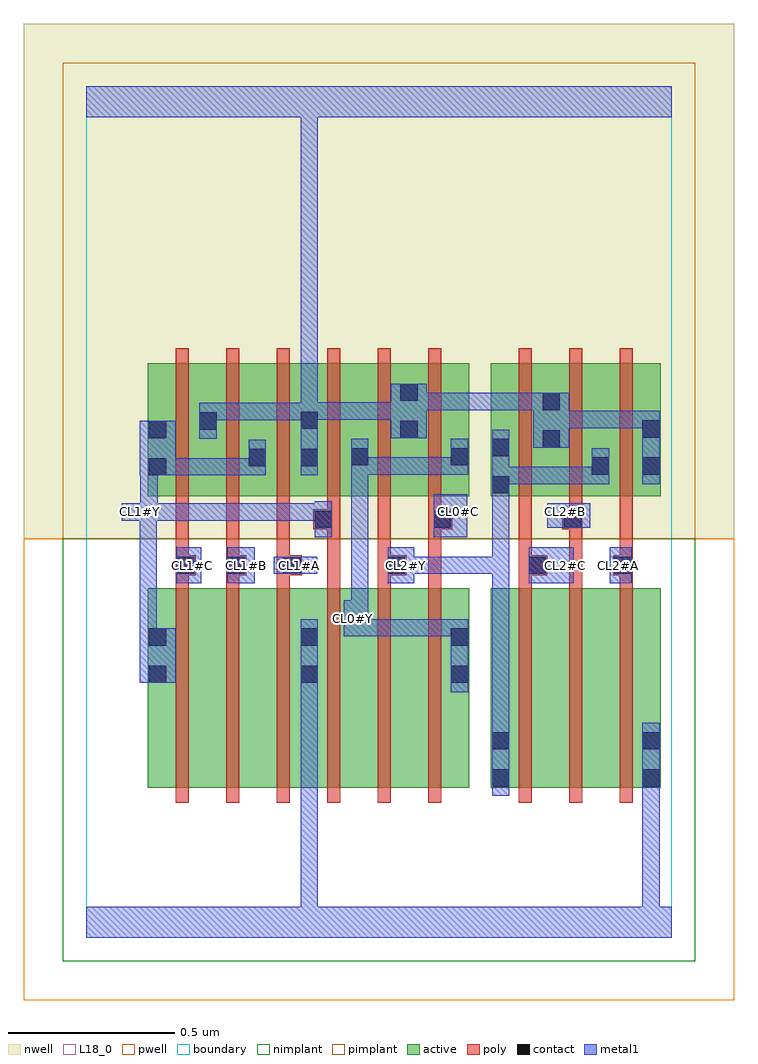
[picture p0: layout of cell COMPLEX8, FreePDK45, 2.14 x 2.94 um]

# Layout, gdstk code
import gdstk
lib = gdstk.Library(unit=1e-6, precision=1e-09)
def R(c, l, rs):  # rectangles x0, y0, x1, y1
    for r in rs: c.add(gdstk.rectangle(r[:2], r[2:], *l))
def A(c, l, x, y, w, h, nx, ny, dx, dy):  # array of equal rectangles
    R(c, l, [(x+i*dx, y+j*dy, x+i*dx+w, y+j*dy+h) for i in range(nx) for j in range(ny)])
active = (1, 0)
pwell = (2, 0)
nwell = (3, 0)
nimplant = (4, 0)
pimplant = (5, 0)
poly = (9, 0)
contact = (10, 0)
metal1 = (11, 0)
L18_0 = (18, 0)
boundary = (235, 0)

complex8 = lib.new_cell('COMPLEX8')
R(complex8, active, [(0.184,0.45,0.364,1.05), (0.364,0.45,0.516,1.05), (0.516,0.45,0.7,1.05), (0.64,0.45,0.82,1.05), (0.82,0.45,0.972,1.05), (0.972,0.45,1.152,1.05), (1.216,0.45,1.276,1.05), (1.216,0.45,1.396,1.05), (1.396,0.45,1.548,1.05), (1.548,0.45,1.728,1.05), (1.668,0.45,1.728,1.05), (0.184,0.556,0.244,1.05), (0.64,0.556,0.7,0.934), (1.092,0.556,1.152,1.05), (0.184,1.328,0.244,1.644), (0.184,1.328,0.396,1.728), (0.336,1.328,0.544,1.728), (0.336,1.328,0.396,1.728), (0.484,1.328,0.544,1.644), (0.484,1.328,0.7,1.728), (0.64,1.328,0.7,1.644), (0.64,1.328,0.852,1.728), (0.792,1.328,0.852,1.644), (0.792,1.328,1,1.728), (0.94,1.328,1.152,1.728), (0.94,1.328,1,1.67), (1.092,1.328,1.152,1.644), (1.216,1.328,1.276,1.644), (1.216,1.328,1.428,1.728), (1.368,1.328,1.576,1.728), (1.368,1.328,1.428,1.728), (1.516,1.328,1.576,1.644), (1.516,1.328,1.728,1.728), (1.668,1.328,1.728,1.644)])
R(complex8, pwell, [(-0.188,-0.188,1.948,1.2)])
R(complex8, nwell, [(-0.188,1.2,1.948,2.748)])
R(complex8, nimplant, [(-0.072,-0.072,1.832,1.2)])
R(complex8, pimplant, [(-0.072,1.2,1.832,2.632)])
A(complex8, poly, 0.268, 0.406, 0.04, 0.688, 6, 1, 0.152, 0)
A(complex8, poly, 1.3, 0.406, 0.04, 0.688, 3, 1, 0.152, 0)
A(complex8, poly, 0.268, 1.054, 0.04, 0.076, 3, 1, 0.152, 0)
A(complex8, poly, 0.268, 1.11, 0.04, 0.214, 3, 1, 0.152, 0)
A(complex8, poly, 0.268, 1.284, 0.04, 0.488, 6, 1, 0.152, 0)
A(complex8, poly, 1.3, 1.284, 0.04, 0.488, 3, 1, 0.152, 0)
R(complex8, poly, [(0.724,1.054,0.764,1.268), (0.876,1.054,0.916,1.13), (1.028,1.054,1.068,1.268), (1.3,1.054,1.34,1.13), (1.452,1.054,1.492,1.268), (1.604,1.054,1.644,1.13), (0.268,1.09,0.328,1.15), (0.42,1.09,0.48,1.15), (0.572,1.09,0.648,1.15), (0.876,1.09,0.962,1.15), (1.3,1.09,1.386,1.15), (1.584,1.09,1.644,1.15), (1.604,1.09,1.644,1.13), (1.604,1.09,1.644,1.13), (0.268,1.11,0.308,1.15), (0.268,1.11,0.308,1.15), (0.42,1.11,0.46,1.15), (0.42,1.11,0.46,1.15), (0.572,1.11,0.612,1.15), (0.572,1.11,0.612,1.15), (0.876,1.11,0.916,1.324), (0.876,1.11,0.916,1.15), (0.876,1.11,0.916,1.15), (1.3,1.11,1.34,1.324), (1.3,1.11,1.34,1.15), (1.3,1.11,1.34,1.15), (1.604,1.11,1.644,1.324), (0.682,1.228,0.764,1.288), (0.724,1.228,0.764,1.268), (0.724,1.228,0.764,1.268), (1.028,1.228,1.068,1.268), (1.028,1.228,1.068,1.268), (1.028,1.228,1.1,1.288), (1.432,1.228,1.492,1.288), (1.452,1.228,1.492,1.268), (1.452,1.228,1.492,1.268), (0.724,1.248,0.764,1.324), (1.028,1.248,1.068,1.324), (1.452,1.248,1.492,1.324)])
R(complex8, contact, [(1.22,0.454,1.272,0.506), (1.672,0.454,1.724,0.506), (1.22,0.566,1.272,0.618), (1.672,0.566,1.724,0.618), (0.188,0.766,0.24,0.818), (0.644,0.766,0.696,0.818), (1.096,0.766,1.148,0.818), (0.188,0.878,0.24,0.93), (0.644,0.878,0.696,0.93), (1.096,0.878,1.148,0.93), (0.272,1.094,0.324,1.146), (0.424,1.094,0.476,1.146), (0.592,1.094,0.644,1.146), (0.906,1.094,0.958,1.146), (1.33,1.094,1.382,1.146), (1.588,1.094,1.64,1.146), (0.686,1.232,0.738,1.284), (1.044,1.232,1.096,1.284), (1.436,1.232,1.488,1.284), (1.22,1.336,1.272,1.388), (0.188,1.39,0.24,1.442), (1.52,1.392,1.572,1.444), (1.672,1.392,1.724,1.444), (0.488,1.418,0.54,1.47), (0.644,1.418,0.696,1.47), (0.796,1.42,0.848,1.472), (1.096,1.42,1.148,1.472), (1.22,1.448,1.272,1.5), (1.372,1.474,1.424,1.526), (0.188,1.502,0.24,1.554), (0.944,1.502,0.996,1.554), (1.672,1.504,1.724,1.556), (0.34,1.528,0.392,1.58), (0.644,1.53,0.696,1.582), (1.372,1.586,1.424,1.638), (0.944,1.614,0.996,1.666)])
A(complex8, metal1, 0.644, 0.04, 0.052, 0.052, 1, 3, 0, 1.214)
R(complex8, metal1, [(0,0,1.76,0.092), (0.644,0.04,0.696,0.092), (0.644,0.04,0.696,0.092), (0.644,0.04,0.696,0.092), (0.644,0.04,0.696,0.092), (0.644,0.04,0.696,0.092), (0.644,0.04,0.696,0.092), (0.644,0.04,0.696,0.092), (0.644,0.04,0.696,0.79), (1.672,0.04,1.724,0.092), (1.672,0.04,1.724,0.092), (1.672,0.04,1.724,0.092), (1.672,0.04,1.724,0.092), (1.672,0.04,1.724,0.478), (1.22,0.426,1.272,0.646), (1.672,0.426,1.724,0.478), (1.672,0.426,1.724,0.478), (1.672,0.426,1.724,0.478), (1.672,0.426,1.724,0.478), (1.672,0.426,1.724,0.646), (1.22,0.594,1.272,1.146), (0.644,0.738,0.696,0.958), (1.096,0.738,1.148,0.958), (0.16,0.766,0.268,0.93), (0.16,0.878,0.212,1.306), (0.774,0.906,0.848,1.014), (0.796,0.906,0.848,0.958), (0.796,0.906,0.848,0.958), (0.796,0.906,0.958,0.958), (0.906,0.906,0.958,0.958), (0.906,0.906,0.958,0.958), (0.906,0.906,0.958,0.958), (0.906,0.906,1.148,0.958), (1.096,0.906,1.148,0.958), (1.096,0.906,1.148,0.958), (0.796,0.962,0.848,1.014), (0.796,0.962,0.848,1.014), (0.796,0.962,0.848,1.444), (0.272,1.066,0.346,1.174), (0.424,1.066,0.506,1.174), (0.906,1.066,0.986,1.174), (1.33,1.066,1.466,1.174), (1.574,1.066,1.64,1.174), (0.564,1.094,0.694,1.146), (0.934,1.094,0.986,1.146), (0.934,1.094,0.986,1.146), (0.934,1.094,1.162,1.146), (1.11,1.094,1.162,1.146), (1.11,1.094,1.162,1.146), (1.11,1.094,1.162,1.146), (1.11,1.094,1.272,1.146), (1.22,1.094,1.272,1.146), (1.22,1.094,1.272,1.146), (1.22,1.094,1.272,1.146), (1.22,1.094,1.272,1.36), (0.686,1.204,0.738,1.312), (1.044,1.204,1.146,1.334), (1.386,1.232,1.516,1.306), (0.106,1.254,0.214,1.306), (0.162,1.254,0.214,1.306), (0.162,1.254,0.214,1.306), (0.162,1.254,0.214,1.306), (0.162,1.254,0.214,1.306), (0.162,1.254,0.378,1.306), (0.162,1.254,0.214,1.442), (0.326,1.254,0.378,1.306), (0.326,1.254,0.378,1.306), (0.326,1.254,0.378,1.306), (0.326,1.254,0.586,1.306), (0.534,1.254,0.586,1.306), (0.534,1.254,0.586,1.306), (0.534,1.254,0.586,1.306), (0.534,1.254,0.696,1.306), (0.644,1.254,0.738,1.306), (1.22,1.308,1.272,1.528), (1.22,1.364,1.272,1.416), (1.22,1.364,1.272,1.416), (1.22,1.364,1.382,1.416), (1.33,1.364,1.382,1.416), (1.33,1.364,1.382,1.416), (1.33,1.364,1.382,1.416), (1.33,1.364,1.572,1.416), (1.52,1.364,1.572,1.472), (1.672,1.364,1.724,1.584), (0.16,1.39,0.268,1.554), (0.216,1.39,0.268,1.442), (0.216,1.39,0.268,1.442), (0.216,1.39,0.378,1.442), (0.326,1.39,0.378,1.442), (0.326,1.39,0.378,1.442), (0.326,1.39,0.378,1.442), (0.326,1.39,0.54,1.442), (0.488,1.39,0.54,1.498), (0.644,1.39,0.696,1.61), (0.796,1.392,0.958,1.444), (0.796,1.392,0.848,1.5), (0.906,1.392,0.958,1.444), (0.906,1.392,0.958,1.444), (0.906,1.392,0.958,1.444), (0.906,1.392,1.148,1.444), (1.096,1.392,1.148,1.444), (1.096,1.392,1.148,1.444), (1.096,1.392,1.148,1.5), (1.344,1.474,1.452,1.638), (0.34,1.5,0.392,1.608), (0.916,1.502,1.024,1.666), (1.4,1.532,1.452,1.584), (1.4,1.532,1.452,1.584), (1.4,1.532,1.614,1.584), (1.562,1.532,1.614,1.584), (1.562,1.532,1.724,1.584), (1.672,1.532,1.724,1.584), (1.672,1.532,1.724,1.584), (0.34,1.556,0.392,1.608), (0.34,1.556,0.392,1.608), (0.34,1.556,0.502,1.608), (0.45,1.556,0.502,1.608), (0.45,1.556,0.502,1.608), (0.45,1.556,0.502,1.608), (0.45,1.556,0.696,1.608), (0.644,1.558,0.806,1.61), (0.644,1.558,0.696,2.52), (0.754,1.558,0.806,1.61), (0.754,1.558,0.806,1.61), (0.754,1.558,0.806,1.61), (0.754,1.558,0.968,1.61), (0.916,1.558,0.968,1.61), (0.916,1.558,0.968,1.61), (0.972,1.586,1.162,1.638), (1.11,1.586,1.162,1.638), (1.11,1.586,1.162,1.638), (1.11,1.586,1.162,1.638), (1.11,1.586,1.272,1.638), (1.22,1.586,1.272,1.638), (1.22,1.586,1.272,1.638), (1.22,1.586,1.272,1.638), (1.22,1.586,1.396,1.638), (0,2.468,1.76,2.56), (0.644,2.468,0.696,2.52), (0.644,2.468,0.696,2.52), (0.644,2.468,0.696,2.52), (0.644,2.468,0.696,2.52), (0.644,2.468,0.696,2.52), (0.644,2.468,0.696,2.52), (0.644,2.468,0.696,2.52), (0.644,2.468,0.696,2.52), (0.644,2.468,0.696,2.52), (0.644,2.468,0.696,2.52), (0.644,2.468,0.696,2.52), (0.644,2.468,0.696,2.52), (0.644,2.468,0.696,2.52), (0.644,2.468,0.696,2.52), (0.644,2.468,0.696,2.52)])
A(complex8, L18_0, 0.644, 0.04, 0.052, 0.052, 1, 3, 0, 1.214)
A(complex8, L18_0, 0.294, 1.094, 0.052, 0.052, 3, 1, 0.16, 0)
R(complex8, L18_0, [(0,0,1.76,0.092), (0.644,0.04,0.696,0.092), (0.644,0.04,0.696,0.092), (0.644,0.04,0.696,0.092), (0.644,0.04,0.696,0.092), (0.644,0.04,0.696,0.092), (0.644,0.04,0.696,0.092), (0.644,0.04,0.696,0.092), (0.644,0.04,0.696,0.79), (1.672,0.04,1.724,0.092), (1.672,0.04,1.724,0.092), (1.672,0.04,1.724,0.092), (1.672,0.04,1.724,0.092), (1.672,0.04,1.724,0.478), (1.22,0.426,1.272,0.646), (1.672,0.426,1.724,0.478), (1.672,0.426,1.724,0.478), (1.672,0.426,1.724,0.478), (1.672,0.426,1.724,0.478), (1.672,0.426,1.724,0.646), (1.22,0.594,1.272,1.146), (0.644,0.738,0.696,0.958), (1.096,0.738,1.148,0.958), (0.16,0.766,0.268,0.93), (0.16,0.878,0.212,1.306), (0.774,0.906,0.848,1.014), (0.796,0.906,0.848,0.958), (0.796,0.906,0.848,0.958), (0.796,0.906,0.958,0.958), (0.906,0.906,0.958,0.958), (0.906,0.906,0.958,0.958), (0.906,0.906,0.958,0.958), (0.906,0.906,1.148,0.958), (1.096,0.906,1.148,0.958), (1.096,0.906,1.148,0.958), (0.774,0.934,0.826,0.986), (0.796,0.962,0.848,1.014), (0.796,0.962,0.848,1.014), (0.796,0.962,0.848,1.444), (0.272,1.066,0.346,1.174), (0.424,1.066,0.506,1.174), (0.906,1.066,0.986,1.174), (1.33,1.066,1.466,1.174), (1.574,1.066,1.64,1.174), (0.564,1.094,0.694,1.146), (0.934,1.094,0.986,1.146), (0.934,1.094,0.986,1.146), (0.934,1.094,0.986,1.146), (0.934,1.094,1.162,1.146), (1.11,1.094,1.162,1.146), (1.11,1.094,1.162,1.146), (1.11,1.094,1.162,1.146), (1.11,1.094,1.272,1.146), (1.22,1.094,1.272,1.146), (1.22,1.094,1.272,1.146), (1.22,1.094,1.272,1.146), (1.22,1.094,1.272,1.36), (1.414,1.094,1.466,1.146), (1.574,1.094,1.626,1.146), (0.686,1.204,0.738,1.312), (1.044,1.204,1.146,1.334), (1.386,1.232,1.516,1.306), (0.106,1.254,0.214,1.306), (0.134,1.254,0.186,1.306), (0.162,1.254,0.214,1.306), (0.162,1.254,0.214,1.306), (0.162,1.254,0.214,1.306), (0.162,1.254,0.214,1.306), (0.162,1.254,0.214,1.442), (0.162,1.254,0.378,1.306), (0.326,1.254,0.378,1.306), (0.326,1.254,0.378,1.306), (0.326,1.254,0.378,1.306), (0.326,1.254,0.586,1.306), (0.534,1.254,0.586,1.306), (0.534,1.254,0.586,1.306), (0.534,1.254,0.586,1.306), (0.534,1.254,0.696,1.306), (0.644,1.254,0.738,1.306), (1.094,1.254,1.146,1.306), (1.414,1.254,1.466,1.306), (1.22,1.308,1.272,1.528), (1.22,1.364,1.272,1.416), (1.22,1.364,1.272,1.416), (1.22,1.364,1.382,1.416), (1.33,1.364,1.382,1.416), (1.33,1.364,1.382,1.416), (1.33,1.364,1.382,1.416), (1.33,1.364,1.572,1.416), (1.52,1.364,1.572,1.472), (1.672,1.364,1.724,1.584), (0.16,1.39,0.268,1.554), (0.216,1.39,0.268,1.442), (0.216,1.39,0.268,1.442), (0.216,1.39,0.378,1.442), (0.326,1.39,0.378,1.442), (0.326,1.39,0.378,1.442), (0.326,1.39,0.378,1.442), (0.326,1.39,0.54,1.442), (0.488,1.39,0.54,1.498), (0.644,1.39,0.696,1.61), (0.796,1.392,0.958,1.444), (0.796,1.392,0.848,1.5), (0.906,1.392,0.958,1.444), (0.906,1.392,0.958,1.444), (0.906,1.392,0.958,1.444), (0.906,1.392,1.148,1.444), (1.096,1.392,1.148,1.444), (1.096,1.392,1.148,1.444), (1.096,1.392,1.148,1.5), (1.344,1.474,1.452,1.638), (0.34,1.5,0.392,1.608), (0.916,1.502,1.024,1.666), (1.4,1.532,1.452,1.584), (1.4,1.532,1.452,1.584), (1.4,1.532,1.614,1.584), (1.562,1.532,1.614,1.584), (1.562,1.532,1.724,1.584), (1.672,1.532,1.724,1.584), (1.672,1.532,1.724,1.584), (0.34,1.556,0.392,1.608), (0.34,1.556,0.392,1.608), (0.34,1.556,0.502,1.608), (0.45,1.556,0.502,1.608), (0.45,1.556,0.502,1.608), (0.45,1.556,0.502,1.608), (0.45,1.556,0.696,1.608), (0.644,1.558,0.806,1.61), (0.644,1.558,0.696,2.52), (0.754,1.558,0.806,1.61), (0.754,1.558,0.806,1.61), (0.754,1.558,0.806,1.61), (0.754,1.558,0.968,1.61), (0.916,1.558,0.968,1.61), (0.916,1.558,0.968,1.61), (0.972,1.586,1.162,1.638), (1.11,1.586,1.162,1.638), (1.11,1.586,1.162,1.638), (1.11,1.586,1.162,1.638), (1.11,1.586,1.272,1.638), (1.22,1.586,1.272,1.638), (1.22,1.586,1.272,1.638), (1.22,1.586,1.272,1.638), (1.22,1.586,1.396,1.638), (0,2.468,1.76,2.56), (0.644,2.468,0.696,2.52), (0.644,2.468,0.696,2.52), (0.644,2.468,0.696,2.52), (0.644,2.468,0.696,2.52), (0.644,2.468,0.696,2.52), (0.644,2.468,0.696,2.52), (0.644,2.468,0.696,2.52), (0.644,2.468,0.696,2.52), (0.644,2.468,0.696,2.52), (0.644,2.468,0.696,2.52), (0.644,2.468,0.696,2.52), (0.644,2.468,0.696,2.52), (0.644,2.468,0.696,2.52), (0.644,2.468,0.696,2.52), (0.644,2.468,0.696,2.52)])
R(complex8, boundary, [(0,0,1.76,2.56)])
complex8.add(gdstk.Label('CL0#C', (1.12,1.28), layer=11, texttype=0))
complex8.add(gdstk.Label('CL0#Y', (0.8,0.96), layer=11, texttype=0))
complex8.add(gdstk.Label('CL1#A', (0.64,1.12), layer=11, texttype=0))
complex8.add(gdstk.Label('CL1#B', (0.48,1.12), layer=11, texttype=0))
complex8.add(gdstk.Label('CL1#C', (0.32,1.12), layer=11, texttype=0))
complex8.add(gdstk.Label('CL1#Y', (0.16,1.28), layer=11, texttype=0))
complex8.add(gdstk.Label('CL2#A', (1.6,1.12), layer=11, texttype=0))
complex8.add(gdstk.Label('CL2#B', (1.44,1.28), layer=11, texttype=0))
complex8.add(gdstk.Label('CL2#C', (1.44,1.12), layer=11, texttype=0))
complex8.add(gdstk.Label('CL2#Y', (0.96,1.12), layer=11, texttype=0))

lib.write_gds('COMPLEX8.gds')
